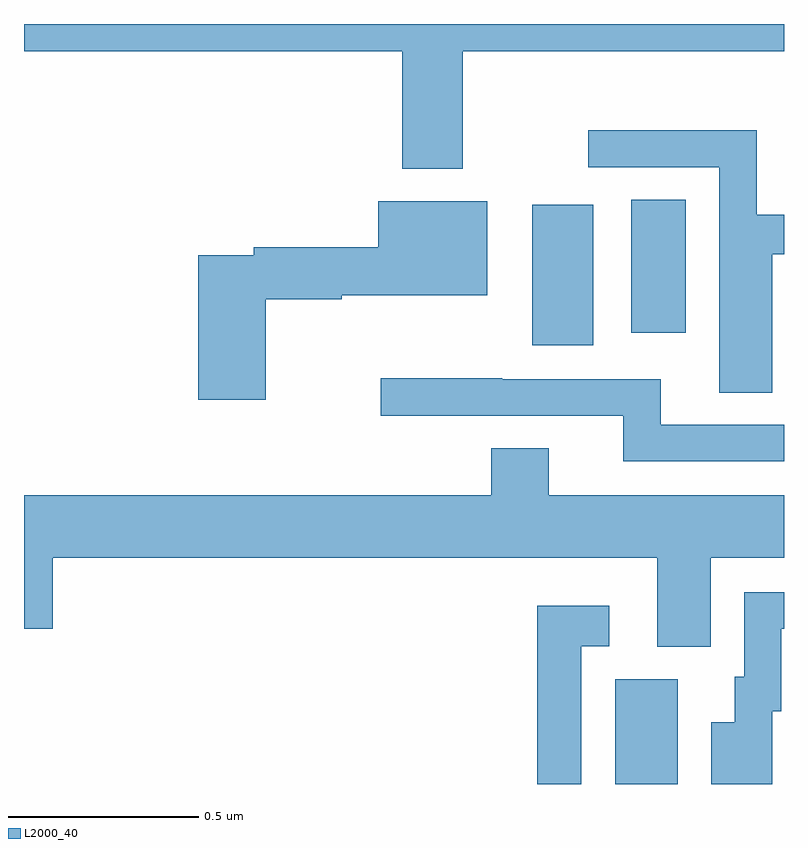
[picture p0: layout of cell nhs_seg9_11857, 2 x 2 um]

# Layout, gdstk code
import gdstk
lib = gdstk.Library(unit=1e-6, precision=1e-09)
def R(c, l, rs):  # rectangles x0, y0, x1, y1
    for r in rs: c.add(gdstk.rectangle(r[:2], r[2:], *l))
def P(c, l, *ps):  # polygons
    for p in ps: c.add(gdstk.Polygon(p, *l))
L2000_40 = (2000, 40)

nhs_seg9_11857 = lib.new_cell('nhs_seg9_11857')
R(nhs_seg9_11857, L2000_40, [(262.556,1186.5,262.72,1186.776), (262.337,1187.654,262.498,1188.025), (262.598,1187.688,262.741,1188.038)])
P(nhs_seg9_11857, L2000_40, [(262.155,1188.428),(263,1188.428),(263,1188.5),(261,1188.5),(261,1188.428),(261.995,1188.428),(261.995,1188.119),(262.155,1188.119)],
  [(262.969,1187.894),(263,1187.894),(263,1187.998),(262.928,1187.998),(262.928,1188.221),(262.485,1188.221),(262.485,1188.123),(262.829,1188.123),(262.829,1187.53),(262.969,1187.53)],
  [(261.636,1187.776),(261.836,1187.776),(261.836,1187.786),(262.219,1187.786),(262.219,1188.034),(261.932,1188.034),(261.932,1187.912),(261.604,1187.912),(261.604,1187.892),(261.458,1187.892),(261.458,1187.511),(261.636,1187.511)],
  [(263,1187.445),(262.675,1187.445),(262.675,1187.565),(262.259,1187.565),(262.259,1187.568),(261.939,1187.568),(261.939,1187.469),(262.577,1187.469),(262.577,1187.349),(263,1187.349)],
  [(262.807,1187.096),(263,1187.096),(263,1187.26),(262.381,1187.26),(262.381,1187.384),(262.229,1187.384),(262.229,1187.26),(261,1187.26),(261,1186.908),(261.076,1186.908),(261.076,1187.096),(262.667,1187.096),(262.667,1186.861),(262.807,1186.861)],
  [(262.969,1186.692),(262.993,1186.692),(262.993,1186.908),(263,1186.908),(263,1187.004),(262.896,1187.004),(262.896,1186.782),(262.871,1186.782),(262.871,1186.663),(262.808,1186.663),(262.808,1186.5),(262.969,1186.5)],
  [(262.467,1186.863),(262.54,1186.863),(262.54,1186.969),(262.351,1186.969),(262.351,1186.5),(262.467,1186.5)])

lib.write_gds('nhs_seg9_11857.gds')
